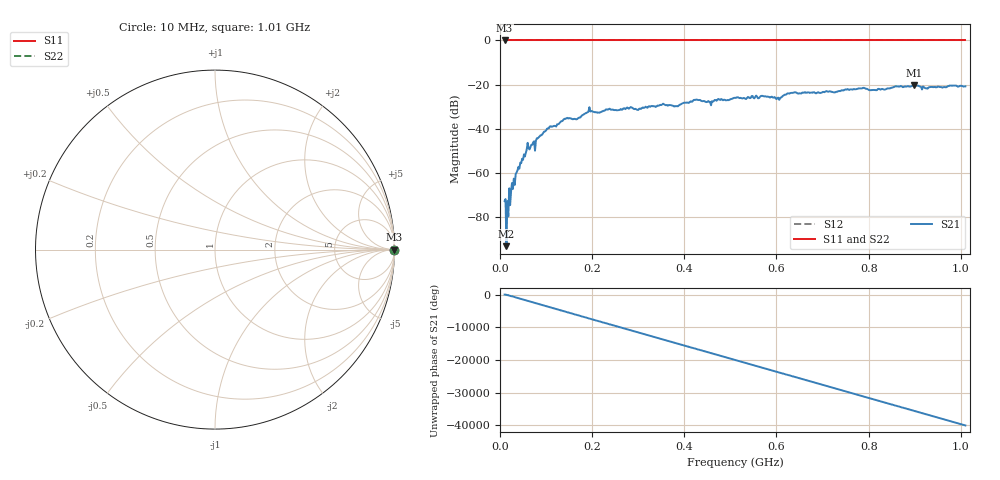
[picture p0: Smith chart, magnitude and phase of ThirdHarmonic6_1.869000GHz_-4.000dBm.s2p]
! 8/16/2025 10:35:26 PM
! C:\ANRITSUVNA\TEMP\TEMP.S2P
! CHANNEL.1
! TR.MEASUREMENT
! RAW.DATA
! RF.CORRECTION.OFF
! AVERAGING.OFF
! IF.BANDWIDTH: 5KHZ
! SWEEPTYPE:  FREQ.SWEEP(Linear)
! Reference Plane Port Info
! PORT:  PORT1  PORT2
! DISTANCE:  0  m  0  m
! TIME:  0  s  0  s
! PHASE.OFFSET:  0  deg.  0  deg.
! LOSS:  0  dB  0  dB
! REF.LOSS:  0  dB  0  dB
! REF.FREQ:  0  Hz  0  Hz
! Power Info
! POWER:  -20  dBm  -20  dBm
! EFF.POWER:  -20  dBm  -20  dBm
! SOURCE.ATTEN:  0  dB  0  dB
! TEST.ATTEN:  0  dB  0  dB
# GHZ S RI R 50.0
! FREQ.GHZ  S11RE  S11IM  S21RE  S21IM  S12RE  S12IM  S22RE  S22IM
!; PortSelection: Port_12
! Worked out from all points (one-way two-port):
!   501 points, 10 MHz to 1.01 GHz, reference 50 ohm
!   highest |S21| = -20.36 dB at 898 MHz (marker M1); lowest = -93.0 dB at 14 MHz (marker M2)
!   lowest |S11| = 0.0 dB at 10 MHz (marker M3)
!   |S11| at or under -10 dB: nowhere
!   |S22| runs from 0.0 to 0.0 dB; largest |S21 - S12| = 1.1
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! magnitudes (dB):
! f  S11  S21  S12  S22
! 10 MHz  0.0  -72.7  0.0  0.0
! 14 MHz  0.0  -93.0  0.0  0.0
! 18 MHz  0.0  -79.6  0.0  0.0
! 24 MHz  0.0  -68.3  0.0  0.0
! 38 MHz  0.0  -58.8  0.0  0.0
! 62 MHz  0.0  -48.6  0.0  0.0
! 106 MHz  0.0  -39.7  0.0  0.0
! 142 MHz  0.0  -35.5  0.0  0.0
! 178 MHz  0.0  -33.9  0.0  0.0
! 196 MHz  0.0  -32.1  0.0  0.0
! 214 MHz  0.0  -32.6  0.0  0.0
! 344 MHz  0.0  -29.5  0.0  0.0
! 382 MHz  0.0  -29.7  0.0  0.0
! 424 MHz  0.0  -26.9  0.0  0.0
! 458 MHz  0.0  -29.3  0.0  0.0
! 510 MHz  0.0  -25.9  0.0  0.0
! 604 MHz  0.0  -25.9  0.0  0.0
! 628 MHz  0.0  -24.0  0.0  0.0
! 678 MHz  0.0  -23.6  0.0  0.0
! 844 MHz  0.0  -21.7  0.0  0.0
! 898 MHz  0.0  -20.4  0.0  0.0
! 1.01 GHz  0.0  -20.8  0.0  0.0
